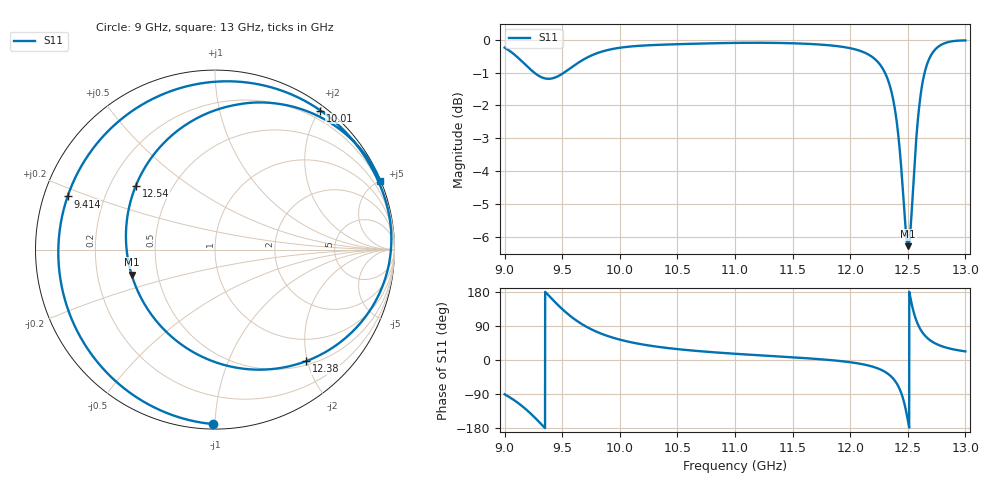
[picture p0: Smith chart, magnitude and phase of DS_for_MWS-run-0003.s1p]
! TOUCHSTONE file generated by CST DESIGN STUDIO
! Date and time: Tue Feb  4 12:42:25 2025
! Project name: C:\Work\MatlabApps\UnitCellOptimizationMatlab\CST\unitcell.cst
! Tree item: Tasks\Sweep1\SPara1\S-Parameters
! Header version: 2024
! Port assignment regex: !\s*Touchstone port\s*([0-9]+)\s*=\s*(CST MWS port|CST DES external port|CST DES block port)\s*(.+)\s* \(\"(.*)\"\)(\s*mode\s*([0-9]+))?.*
! Touchstone port assignment:
! Touchstone port 1 = CST DES external port 1 ("")
# GHz S MA R 50
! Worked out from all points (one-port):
!   4001 points, 9 GHz to 13 GHz, reference 50 ohm
!   lowest |S11| = -6.3 dB at 12.5 GHz (marker M1), VSWR 2.88, Z = 17.7 - j6.41 ohm
!   |S11| at or under -10 dB: nowhere
!   S11 on the Smith chart (normalised r, x): 9 GHz: 0.03, -0.99; 9.414 GHz: 0.07, +0.17; 10.01 GHz: 0.07, +2.01; 12.38 GHz: 0.57, -1.97; 12.54 GHz: 0.31, +0.32; 13 GHz: 0.04, +4.98
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9  0.9723 -90.5
9.1  0.9441 -109.7
9.19  0.9127 -131.4
9.309  0.8785 -166.3
9.414  0.8731 160.2
9.5  0.8871 134.4
9.589  0.9095 111.7
9.687  0.9331 91.7
9.835  0.9578 69.9
10  0.9719 53.8
10.012  0.9726 52.8
10.5  0.9841 28.7
11  0.9886 16.4
11.5  0.9873 7.1
12  0.9704 -5.9
12.25  0.9204 -23.4
12.378  0.8024 -50.8
12.447  0.6252 -90.4
12.473  0.5382 -118.2
12.5  0.4858 -158.4
12.503  0.4852 -163.4
12.539  0.5671 141.0
12.57  0.6933 107.7
12.602  0.7992 85.1
12.652  0.899 63.4
12.708  0.9509 49.1
12.821  0.9877 33.8
13  0.9971 22.7
